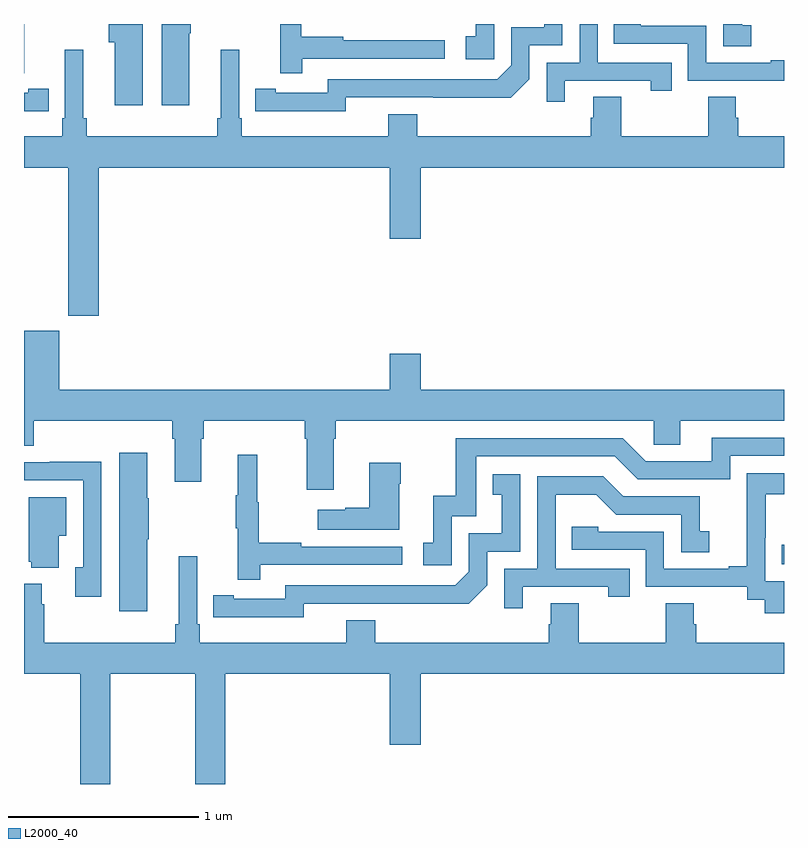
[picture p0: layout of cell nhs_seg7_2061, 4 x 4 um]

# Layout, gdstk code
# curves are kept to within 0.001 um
import gdstk
lib = gdstk.Library(unit=1e-6, precision=1e-09)
def R(c, l, rs):  # rectangles x0, y0, x1, y1
    for r in rs: c.add(gdstk.rectangle(r[:2], r[2:], *l))
def P(c, l, *ps):  # polygons
    for p in ps: c.add(gdstk.Polygon(p, *l))
L2000_40 = (2000, 40)

nhs_seg7_2061 = lib.new_cell('nhs_seg7_2061')
R(nhs_seg7_2061, L2000_40, [(250.987,1037.157,251,1037.258), (247,1039.74,247.001,1040)])
P(nhs_seg7_2061, L2000_40, [(251,1039.81),(250.931,1039.81),(250.931,1039.797),(250.59,1039.797),(250.59,1039.992),(250.245,1039.992),(250.245,1040),(250.105,1040),(250.105,1039.896),(250.494,1039.896),(250.494,1039.701),(251,1039.701)],
  [(250.828,1039.993),(250.779,1039.993),(250.779,1040),(250.68,1040),(250.68,1039.884),(250.828,1039.884)],
  [(249.847,1039.701),(250.298,1039.701),(250.298,1039.65),(250.409,1039.65),(250.409,1039.797),(250.02,1039.797),(250.02,1040),(249.924,1040),(249.924,1039.797),(249.75,1039.797),(249.75,1039.59),(249.847,1039.59)],
  [(248.694,1039.614),(249.562,1039.613),(249.66,1039.71),(249.66,1039.887),(249.834,1039.887),(249.834,1040),(249.737,1040),(249.737,1039.983),(249.564,1039.983),(249.564,1039.782),(249.492,1039.71),(248.598,1039.71),(248.598,1039.638),(248.326,1039.638),(248.326,1039.658),(248.218,1039.658),(248.218,1039.542),(248.694,1039.541)],
  [(248.465,1039.818),(249.214,1039.818),(249.214,1039.914),(248.681,1039.914),(248.681,1039.934),(248.458,1039.934),(248.458,1040),(248.348,1040),(248.348,1039.74),(248.465,1039.74)],
  [(249.474,1040),(249.377,1040),(249.377,1039.935),(249.324,1039.935),(249.324,1039.815),(249.474,1039.815)],
  [(247.624,1040),(247.445,1040),(247.445,1039.904),(247.478,1039.904),(247.478,1039.572),(247.624,1039.572)],
  [(247.87,1039.951),(247.878,1039.951),(247.878,1040),(247.724,1040),(247.724,1039.572),(247.87,1039.572)],
  [(247.394,1039.244),(248.924,1039.244),(248.924,1038.87),(249.088,1038.87),(249.088,1039.244),(251,1039.244),(251,1039.408),(250.76,1039.408),(250.76,1039.506),(250.747,1039.506),(250.747,1039.616),(250.6,1039.616),(250.6,1039.408),(250.143,1039.408),(250.143,1039.616),(249.995,1039.616),(249.995,1039.506),(249.983,1039.506),(249.983,1039.408),(249.071,1039.408),(249.071,1039.525),(248.918,1039.525),(248.918,1039.408),(248.147,1039.408),(248.147,1039.504),(248.133,1039.504),(248.133,1039.864),(248.036,1039.864),(248.036,1039.504),(248.017,1039.504),(248.017,1039.408),(247.331,1039.408),(247.331,1039.504),(247.312,1039.504),(247.312,1039.864),(247.215,1039.864),(247.215,1039.504),(247.202,1039.504),(247.202,1039.408),(247,1039.408),(247,1039.244),(247.234,1039.244),(247.234,1038.465),(247.394,1038.465)],
  [(247.022,1039.542),(247.13,1039.542),(247.13,1039.658),(247.022,1039.658),(247.022,1039.638),(247,1039.638),(247,1039.541),(247.022,1039.541)],
  [(248.629,1037.816),(248.642,1037.816),(248.642,1037.912),(250.314,1037.912),(250.314,1037.785),(250.453,1037.785),(250.453,1037.912),(251,1037.912),(251,1038.076),(249.088,1038.076),(249.088,1038.265),(248.924,1038.265),(248.924,1038.076),(247.186,1038.076),(247.186,1038.385),(247,1038.385),(247,1037.779),(247.052,1037.779),(247.052,1037.912),(247.781,1037.912),(247.781,1037.816),(247.793,1037.816),(247.793,1037.592),(247.933,1037.592),(247.933,1037.816),(247.946,1037.816),(247.946,1037.912),(248.477,1037.912),(248.477,1037.816),(248.489,1037.816),(248.489,1037.55),(248.629,1037.55)],
  [(249.252,1037.409),(249.381,1037.409),(249.381,1037.724),(250.11,1037.724),(250.23,1037.604),(250.716,1037.604),(250.716,1037.727),(251,1037.727),(251,1037.823),(250.619,1037.823),(250.619,1037.7),(250.272,1037.7),(250.152,1037.82),(249.273,1037.82),(249.273,1037.518),(249.155,1037.518),(249.155,1037.271),(249.102,1037.271),(249.102,1037.151),(249.252,1037.151)],
  [(247.648,1037.287),(247.656,1037.287),(247.656,1037.504),(247.648,1037.504),(247.648,1037.743),(247.502,1037.743),(247.502,1036.908),(247.648,1036.908)],
  [(248.243,1037.154),(248.992,1037.154),(248.992,1037.25),(248.459,1037.25),(248.459,1037.27),(248.236,1037.27),(248.236,1037.484),(248.228,1037.484),(248.228,1037.734),(248.126,1037.734),(248.126,1037.521),(248.115,1037.521),(248.115,1037.347),(248.126,1037.347),(248.126,1037.076),(248.243,1037.076)],
  [(247.407,1037.696),(247.135,1037.696),(247.135,1037.694),(247,1037.694),(247,1037.598),(247.311,1037.598),(247.311,1037.142),(247.271,1037.142),(247.271,1036.986),(247.407,1036.986)],
  [(248.974,1037.579),(248.982,1037.579),(248.982,1037.692),(248.816,1037.692),(248.816,1037.453),(248.69,1037.453),(248.69,1037.443),(248.547,1037.443),(248.547,1037.339),(248.974,1037.339)],
  [(251,1037.067),(250.902,1037.067),(250.902,1037.297),(250.904,1037.297),(250.904,1037.525),(251,1037.525),(251,1037.635),(250.804,1037.635),(250.804,1037.429),(250.805,1037.429),(250.805,1037.146),(250.709,1037.146),(250.709,1037.133),(250.368,1037.133),(250.368,1037.328),(250.023,1037.328),(250.023,1037.355),(249.883,1037.355),(249.883,1037.232),(250.272,1037.232),(250.272,1037.037),(250.806,1037.037),(250.806,1036.969),(250.899,1036.969),(250.899,1036.899),(251,1036.899)],
  [(248.472,1036.95),(249.34,1036.949),(249.438,1037.046),(249.438,1037.223),(249.612,1037.223),(249.612,1037.629),(249.466,1037.629),(249.466,1037.523),(249.515,1037.523),(249.515,1037.319),(249.342,1037.319),(249.342,1037.118),(249.27,1037.046),(248.376,1037.046),(248.376,1036.974),(248.104,1036.974),(248.104,1036.994),(247.996,1036.994),(247.996,1036.878),(248.472,1036.877)],
  [(249.625,1037.037),(250.076,1037.037),(250.076,1036.986),(250.187,1036.986),(250.187,1037.133),(249.798,1037.133),(249.798,1037.522),(250.012,1037.522),(250.116,1037.418),(250.458,1037.418),(250.458,1037.22),(250.606,1037.22),(250.606,1037.329),(250.557,1037.329),(250.557,1037.514),(250.153,1037.514),(250.048,1037.619),(249.702,1037.619),(249.702,1037.133),(249.528,1037.133),(249.528,1036.926),(249.625,1036.926)],
  [(247.183,1037.306),(247.222,1037.306),(247.222,1037.509),(247.025,1037.509),(247.025,1037.169),(247.037,1037.169),(247.037,1037.138),(247.183,1037.138)],
  [(248.849,1036.861),(248.696,1036.861),(248.696,1036.744),(247.925,1036.744),(247.925,1036.84),(247.911,1036.84),(247.911,1037.2),(247.814,1037.2),(247.814,1036.84),(247.795,1036.84),(247.795,1036.744),(247.106,1036.744),(247.106,1036.946),(247.093,1036.946),(247.093,1037.053),(247,1037.053),(247,1036.58),(247.295,1036.58),(247.295,1036),(247.455,1036),(247.455,1036.58),(247.9,1036.58),(247.9,1036),(248.06,1036),(248.06,1036.58),(248.924,1036.58),(248.924,1036.206),(249.088,1036.206),(249.088,1036.58),(251,1036.58),(251,1036.744),(250.538,1036.744),(250.538,1036.842),(250.525,1036.842),(250.525,1036.952),(250.378,1036.952),(250.378,1036.744),(249.921,1036.744),(249.921,1036.952),(249.773,1036.952),(249.773,1036.842),(249.761,1036.842),(249.761,1036.744),(248.849,1036.744)])

lib.write_gds('nhs_seg7_2061.gds')
